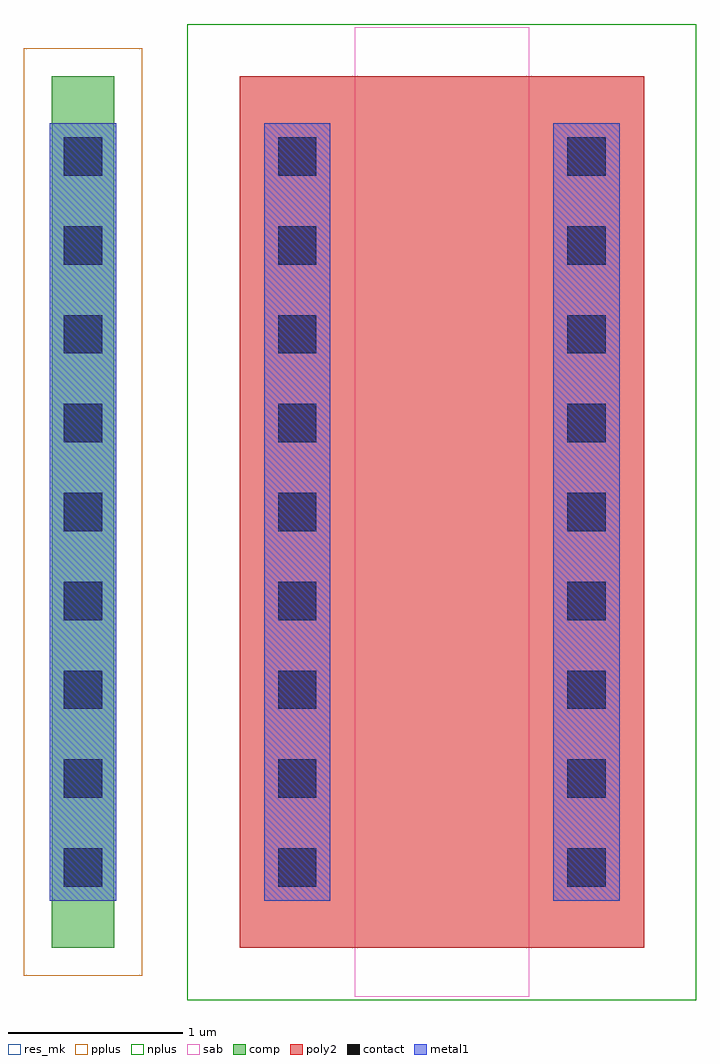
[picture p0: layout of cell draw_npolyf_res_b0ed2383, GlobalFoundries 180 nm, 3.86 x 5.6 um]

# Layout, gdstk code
import gdstk
lib = gdstk.Library(unit=1e-6, precision=1e-09)
def R(c, l, rs):  # rectangles x0, y0, x1, y1
    for r in rs: c.add(gdstk.rectangle(r[:2], r[2:], *l))
def A(c, l, x, y, w, h, nx, ny, dx, dy):  # array of equal rectangles
    R(c, l, [(x+i*dx, y+j*dy, x+i*dx+w, y+j*dy+h) for i in range(nx) for j in range(ny)])
comp = (22, 0)
poly2 = (30, 0)
pplus = (31, 0)
nplus = (32, 0)
contact = (33, 0)
metal1 = (34, 0)
sab = (49, 0)
res_mk = (110, 5)

draw_npolyf_res_b0ed2383 = lib.new_cell('draw_npolyf_res_b0ed2383')
R(draw_npolyf_res_b0ed2383, comp, [(-1.74,0,-1.38,5)])
R(draw_npolyf_res_b0ed2383, poly2, [(-0.66,0,1.66,5)])
R(draw_npolyf_res_b0ed2383, pplus, [(-1.9,-0.16,-1.22,5.16)])
R(draw_npolyf_res_b0ed2383, nplus, [(-0.96,-0.3,1.96,5.3)])
A(draw_npolyf_res_b0ed2383, contact, -1.67, 0.35, 0.22, 0.22, 1, 9, 0, 0.51)
A(draw_npolyf_res_b0ed2383, contact, -0.44, 0.35, 0.22, 0.22, 1, 9, 0, 0.51)
A(draw_npolyf_res_b0ed2383, contact, 1.22, 0.35, 0.22, 0.22, 1, 9, 0, 0.51)
R(draw_npolyf_res_b0ed2383, metal1, [(-1.75,0.27,-1.37,4.73), (-0.52,0.27,-0.14,4.73), (1.14,0.27,1.52,4.73)])
R(draw_npolyf_res_b0ed2383, sab, [(0,-0.28,1,5.28)])
R(draw_npolyf_res_b0ed2383, res_mk, [(0,0,1,5)])

lib.write_gds('draw_npolyf_res_b0ed2383.gds')
